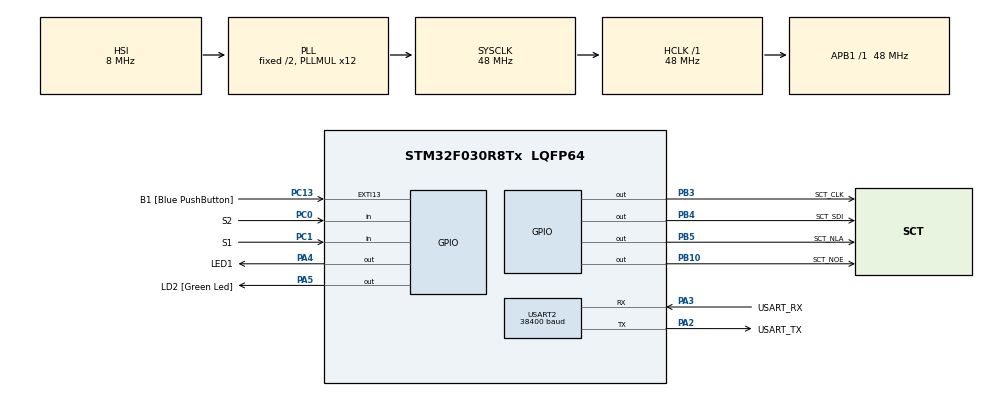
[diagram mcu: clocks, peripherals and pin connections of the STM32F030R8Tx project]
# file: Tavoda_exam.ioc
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Mcu.Family=STM32F0
Mcu.Name=STM32F030R8Tx
Mcu.Package=LQFP64
PA13.GPIO_Label=TMS
PA13.Mode=Serial_Wire
PA13.Signal=SYS_SWDIO
PA14.GPIO_Label=TCK
PA14.Mode=Serial_Wire
PA14.Signal=SYS_SWCLK
PA2.GPIO_Label=USART_TX
PA2.GPIO_Mode=GPIO_MODE_AF_PP
PA2.GPIO_PuPd=GPIO_NOPULL
PA2.GPIO_Speed=GPIO_SPEED_FREQ_LOW
PA2.Mode=Asynchronous
PA2.Signal=USART2_TX
PA3.GPIO_Label=USART_RX
PA3.GPIO_Mode=GPIO_MODE_AF_PP
PA3.GPIO_PuPd=GPIO_NOPULL
PA3.GPIO_Speed=GPIO_SPEED_FREQ_LOW
PA3.Mode=Asynchronous
PA3.Signal=USART2_RX
PA4.GPIO_Label=LED1
PA4.Signal=GPIO_Output
PA5.GPIO_Label=LD2 [Green Led]
PA5.GPIO_Mode=GPIO_MODE_OUTPUT_PP
PA5.GPIO_PuPd=GPIO_NOPULL
PA5.GPIO_Speed=GPIO_SPEED_FREQ_LOW
PA5.Signal=GPIO_Output
PB10.GPIO_Label=SCT_NOE
PB10.Signal=GPIO_Output
PB3.GPIO_Label=SCT_CLK
PB3.Signal=GPIO_Output
PB4.GPIO_Label=SCT_SDI
PB4.Signal=GPIO_Output
PB5.GPIO_Label=SCT_NLA
PB5.Signal=GPIO_Output
PC0.GPIO_Label=S2
PC0.GPIO_PuPd=GPIO_PULLUP
PC0.Signal=GPIO_Input
PC1.GPIO_Label=S1
PC1.GPIO_PuPd=GPIO_PULLUP
PC1.Signal=GPIO_Input
PC13.GPIO_Label=B1 [Blue PushButton]
PC13.GPIO_ModeDefaultEXTI=GPIO_MODE_IT_FALLING
PC13.Signal=GPXTI13
PC14-OSC32_IN.Mode=LSE-External-Oscillator
PC14-OSC32_IN.Signal=RCC_OSC32_IN
PC15-OSC32_OUT.Mode=LSE-External-Oscillator
PC15-OSC32_OUT.Signal=RCC_OSC32_OUT
PF0-OSC_IN.Mode=HSE-External-Clock-Source
PF0-OSC_IN.Signal=RCC_OSC_IN
PF1-OSC_OUT.Signal=RCC_OSC_OUT
ProjectManager.HeapSize=0x200
ProjectManager.StackSize=0x400
ProjectManager.TargetToolchain=STM32CubeIDE
RCC.AHBFreq_Value=48000000
RCC.APB1Freq_Value=48000000
RCC.APB1TimFreq_Value=48000000
RCC.HCLKFreq_Value=48000000
RCC.PLLMUL=RCC_PLL_MUL12
RCC.SYSCLKFreq_VALUE=48000000
RCC.SYSCLKSource=RCC_SYSCLKSOURCE_PLLCLK
USART2.BaudRate=38400
USART2.VirtualMode-Asynchronous=VM_ASYNC
board=NUCLEO-F030R8

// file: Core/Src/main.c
/* USER CODE BEGIN Header */
/**
  ******************************************************************************
  * @file           : main.c
  * @brief          : Main program body
  ******************************************************************************
  * @attention
  *
  * Copyright (c) 2025 STMicroelectronics.
  * All rights reserved.
  *
  * This software is licensed under terms that can be found in the LICENSE file
  * in the root directory of this software component.
  * If no LICENSE file comes with this software, it is provided AS-IS.
  *
  ******************************************************************************
  */
/* USER CODE END Header */
#include "main.h"

/* USER CODE BEGIN Includes */
#include "sct.h"
/* USER CODE END Includes */

/* USER CODE BEGIN PD */
#define DELAY_INIT 50
#define MAX_DELAY 400
#define DEBOUNCE_TIME 300

/* USER CODE END PD */

UART_HandleTypeDef huart2;

void SystemClock_Config(void);
static void MX_GPIO_Init(void);
static void MX_USART2_UART_Init(void);

/* USER CODE BEGIN 0 */
uint8_t generate_random(uint32_t seed, uint8_t max)
{

	seed ^= seed >> 21;
	seed ^= seed << 15;
	seed ^= seed >> 4;
	seed *= 2685821657736338717UL;

	return ((seed % max) + 1);
}

/* USER CODE END 0 */

int main(void)
{

  /* MCU Configuration--------------------------------------------------------*/

  /* Reset of all peripherals, Initializes the Flash interface and the Systick. */
  HAL_Init();

  /* Configure the system clock */
  SystemClock_Config();

  /* Initialize all configured peripherals */
  MX_GPIO_Init();
  MX_USART2_UART_Init();
  /* USER CODE BEGIN 2 */

  sct_init();
  sct_value(000, 0, 0);
  /* USER CODE END 2 */

  /* Infinite loop */
  /* USER CODE BEGIN WHILE */
  while (1)
  {

	  static uint8_t effect_en;
	  static uint32_t effect_delay = DELAY_INIT;

	  static uint32_t cTime_debS1;
	  if (HAL_GetTick() > cTime_debS1 + DEBOUNCE_TIME)
	  {
		  if(HAL_GPIO_ReadPin(S1_GPIO_Port, S1_Pin) == 0)
		  {
			  HAL_GPIO_WritePin(LED1_GPIO_Port, LED1_Pin, GPIO_PIN_RESET);
			  effect_en = 1;
			  effect_delay = DELAY_INIT;
		  }
		  cTime_debS1 = HAL_GetTick();
	  }

	  static uint32_t cTime_effect;
	  if (HAL_GetTick() > cTime_effect + effect_delay && effect_en)
	  {
		  sct_cube(generate_random(HAL_GetTick(), 6));

		  //HAL_GPIO_TogglePin(LED1_GPIO_Port, LED1_Pin);

		  effect_delay += 10 + generate_random(HAL_GetTick(), 5);

		  if(effect_delay > MAX_DELAY)
		  {
			  effect_en = 0;
			  HAL_GPIO_WritePin(LED1_GPIO_Port, LED1_Pin, GPIO_PIN_SET);
		  }

		  cTime_effect = HAL_GetTick();
	  }

	  static uint32_t cTime_debS2;
	  if (HAL_GetTick() > cTime_debS2 + DEBOUNCE_TIME)
	  {
		  if(HAL_GPIO_ReadPin(S2_GPIO_Port, S2_Pin) == 0)
		  {
			  sct_cube(generate_random(HAL_GetTick(), 6));
			  effect_en = 0;
			  HAL_GPIO_WritePin(LED1_GPIO_Port, LED1_Pin, GPIO_PIN_SET);
		  }
		  cTime_debS2 = HAL_GetTick();
	  }

    /* USER CODE END WHILE */

  }
}

void SystemClock_Config(void)
{
  RCC_OscInitTypeDef RCC_OscInitStruct = {0};
  RCC_ClkInitTypeDef RCC_ClkInitStruct = {0};

  /** Initializes the RCC Oscillators according to the specified parameters
  * in the RCC_OscInitTypeDef structure.
  */
  RCC_OscInitStruct.OscillatorType = RCC_OSCILLATORTYPE_HSI;
  RCC_OscInitStruct.HSIState = RCC_HSI_ON;
  RCC_OscInitStruct.HSICalibrationValue = RCC_HSICALIBRATION_DEFAULT;
  RCC_OscInitStruct.PLL.PLLState = RCC_PLL_ON;
  RCC_OscInitStruct.PLL.PLLSource = RCC_PLLSOURCE_HSI;
  RCC_OscInitStruct.PLL.PLLMUL = RCC_PLL_MUL12;
  RCC_OscInitStruct.PLL.PREDIV = RCC_PREDIV_DIV1;
  if (HAL_RCC_OscConfig(&RCC_OscInitStruct) != HAL_OK)
  {
    Error_Handler();
  }

  /** Initializes the CPU, AHB and APB buses clocks
  */
  RCC_ClkInitStruct.ClockType = RCC_CLOCKTYPE_HCLK|RCC_CLOCKTYPE_SYSCLK
                              |RCC_CLOCKTYPE_PCLK1;
  RCC_ClkInitStruct.SYSCLKSource = RCC_SYSCLKSOURCE_PLLCLK;
  RCC_ClkInitStruct.AHBCLKDivider = RCC_SYSCLK_DIV1;
  RCC_ClkInitStruct.APB1CLKDivider = RCC_HCLK_DIV1;

  if (HAL_RCC_ClockConfig(&RCC_ClkInitStruct, FLASH_LATENCY_1) != HAL_OK)
  {
    Error_Handler();
  }
}

static void MX_USART2_UART_Init(void)
{

  huart2.Instance = USART2;
  huart2.Init.BaudRate = 38400;
  huart2.Init.WordLength = UART_WORDLENGTH_8B;
  huart2.Init.StopBits = UART_STOPBITS_1;
  huart2.Init.Parity = UART_PARITY_NONE;
  huart2.Init.Mode = UART_MODE_TX_RX;
  huart2.Init.HwFlowCtl = UART_HWCONTROL_NONE;
  huart2.Init.OverSampling = UART_OVERSAMPLING_16;
  huart2.Init.OneBitSampling = UART_ONE_BIT_SAMPLE_DISABLE;
  huart2.AdvancedInit.AdvFeatureInit = UART_ADVFEATURE_NO_INIT;
  if (HAL_UART_Init(&huart2) != HAL_OK)
  {
    Error_Handler();
  }

}

static void MX_GPIO_Init(void)
{
  GPIO_InitTypeDef GPIO_InitStruct = {0};

  /* GPIO Ports Clock Enable */
  __HAL_RCC_GPIOC_CLK_ENABLE();
  __HAL_RCC_GPIOF_CLK_ENABLE();
  __HAL_RCC_GPIOA_CLK_ENABLE();
  __HAL_RCC_GPIOB_CLK_ENABLE();

  /*Configure GPIO pin Output Level */
  HAL_GPIO_WritePin(GPIOA, LED1_Pin|LD2_Pin, GPIO_PIN_RESET);

  /*Configure GPIO pin Output Level */
  HAL_GPIO_WritePin(GPIOB, SCT_NOE_Pin|SCT_CLK_Pin|SCT_SDI_Pin|SCT_NLA_Pin, GPIO_PIN_RESET);

  /*Configure GPIO pin : B1_Pin */
  GPIO_InitStruct.Pin = B1_Pin;
  GPIO_InitStruct.Mode = GPIO_MODE_IT_FALLING;
  GPIO_InitStruct.Pull = GPIO_NOPULL;
  HAL_GPIO_Init(B1_GPIO_Port, &GPIO_InitStruct);

  /*Configure GPIO pins : S2_Pin S1_Pin */
  GPIO_InitStruct.Pin = S2_Pin|S1_Pin;
  GPIO_InitStruct.Mode = GPIO_MODE_INPUT;
  GPIO_InitStruct.Pull = GPIO_PULLUP;
  HAL_GPIO_Init(GPIOC, &GPIO_InitStruct);

  /*Configure GPIO pins : LED1_Pin LD2_Pin */
  GPIO_InitStruct.Pin = LED1_Pin|LD2_Pin;
  GPIO_InitStruct.Mode = GPIO_MODE_OUTPUT_PP;
  GPIO_InitStruct.Pull = GPIO_NOPULL;
  GPIO_InitStruct.Speed = GPIO_SPEED_FREQ_LOW;
  HAL_GPIO_Init(GPIOA, &GPIO_InitStruct);

  /*Configure GPIO pins : SCT_NOE_Pin SCT_CLK_Pin SCT_SDI_Pin SCT_NLA_Pin */
  GPIO_InitStruct.Pin = SCT_NOE_Pin|SCT_CLK_Pin|SCT_SDI_Pin|SCT_NLA_Pin;
  GPIO_InitStruct.Mode = GPIO_MODE_OUTPUT_PP;
  GPIO_InitStruct.Pull = GPIO_NOPULL;
  GPIO_InitStruct.Speed = GPIO_SPEED_FREQ_LOW;
  HAL_GPIO_Init(GPIOB, &GPIO_InitStruct);

}

void Error_Handler(void)
{
  __disable_irq();
  while (1)
  {
  }
}
